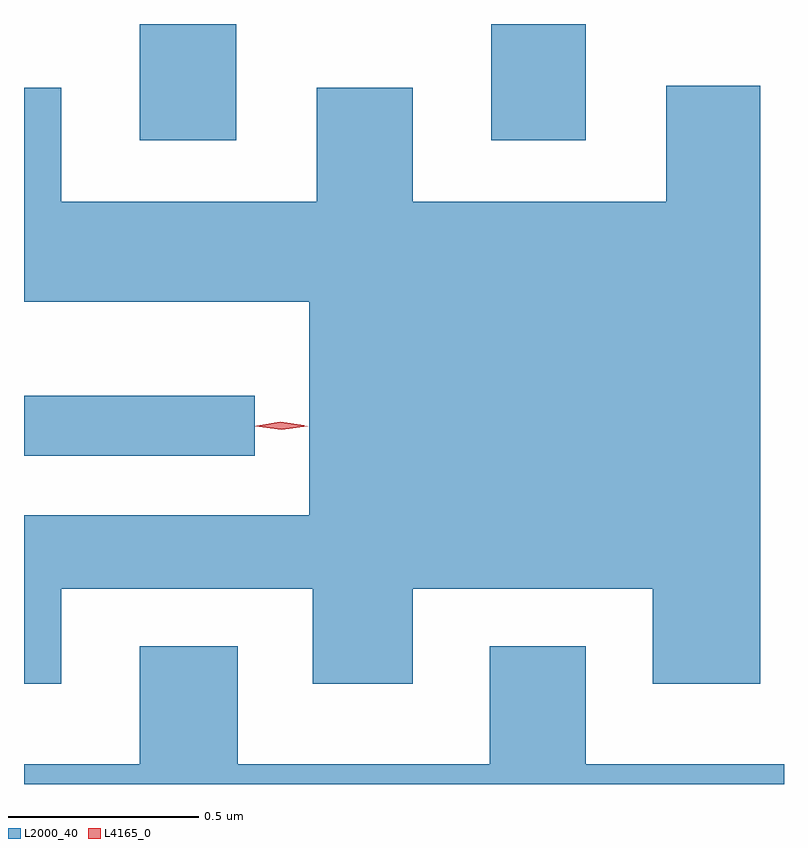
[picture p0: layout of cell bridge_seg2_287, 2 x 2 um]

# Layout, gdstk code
import gdstk
lib = gdstk.Library(unit=1e-6, precision=1e-09)
def R(c, l, rs):  # rectangles x0, y0, x1, y1
    for r in rs: c.add(gdstk.rectangle(r[:2], r[2:], *l))
def P(c, l, *ps):  # polygons
    for p in ps: c.add(gdstk.Polygon(p, *l))
L2000_40 = (2000, 40)
L4165_0 = (4165, 0)

bridge_seg2_287 = lib.new_cell('bridge_seg2_287')
R(bridge_seg2_287, L2000_40, [(638.051,1064.936,638.658,1065.094), (638.356,1065.766,638.609,1066.072), (639.281,1065.766,639.529,1066.072)])
P(bridge_seg2_287, L2000_40, [(638.149,1064.586),(638.811,1064.586),(638.811,1064.336),(639.074,1064.336),(639.074,1064.586),(639.706,1064.586),(639.706,1064.336),(639.989,1064.336),(639.989,1065.909),(639.741,1065.909),(639.741,1065.604),(639.074,1065.604),(639.074,1065.904),(638.821,1065.904),(638.821,1065.604),(638.149,1065.604),(638.149,1065.904),(638.051,1065.904),(638.051,1065.341),(638.801,1065.341),(638.801,1064.779),(638.051,1064.779),(638.051,1064.336),(638.149,1064.336)],
  [(640.051,1064.124),(639.529,1064.124),(639.529,1064.434),(639.276,1064.434),(639.276,1064.124),(638.614,1064.124),(638.614,1064.434),(638.356,1064.434),(638.356,1064.124),(638.051,1064.124),(638.051,1064.072),(640.051,1064.072)])
P(bridge_seg2_287, L4165_0, [(638.729,1065.004),(638.66,1065.014),(638.659,1065.014),(638.66,1065.014),(638.729,1065.024),(638.797,1065.014),(638.798,1065.014),(638.797,1065.014)],
  [(638.725,1065.005),(638.663,1065.014),(638.663,1065.015),(638.663,1065.015),(638.725,1065.025),(638.788,1065.016),(638.788,1065.015),(638.788,1065.015)])

lib.write_gds('bridge_seg2_287.gds')
